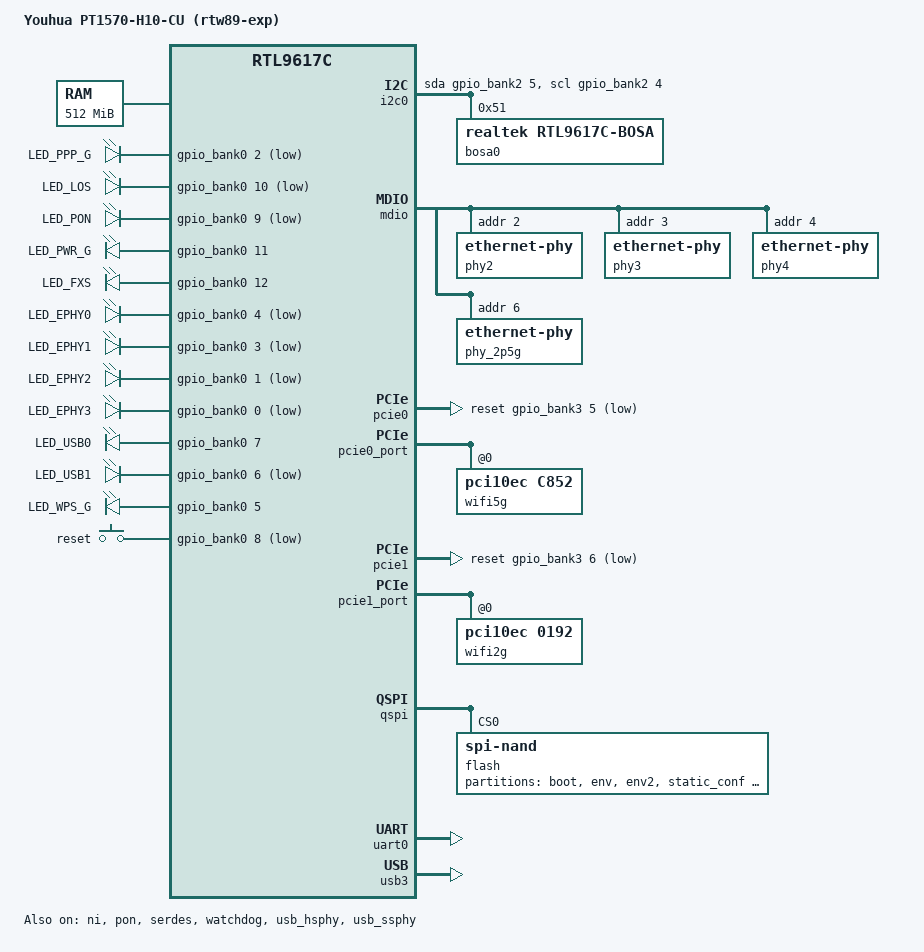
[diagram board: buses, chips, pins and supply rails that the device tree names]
// SPDX-License-Identifier: GPL-2.0-only

/dts-v1/;

#include "rtk-taurus.dtsi"
#include <dt-bindings/gpio/gpio.h>
#include <dt-bindings/input/linux-event-codes.h>
#include <dt-bindings/leds/common.h>

/ {
	model = "Youhua PT1570-H10-CU (rtw89-exp)";
	compatible = "youhua,pt1570-h10-cu-rtw89-exp", "youhua,pt1570-h10-cu", "realtek,rtl9617c";

	aliases {
		serial0 = &uart0;
		i2c0 = &i2c0;
		led-boot = &led_power;
		led-failsafe = &led_power;
		led-running = &led_power;
		led-upgrade = &led_power;
	};

	chosen {
		stdout-path = "serial0:115200n8";
		bootargs = "earlycon console=ttyS0,115200n8 loglevel=7 clk_ignore_unused";
		rootdisk = <&ubi_rootdisk>;
	};

	memory@0 {
		device_type = "memory";
		reg = <0 0 0 0x20000000>;
	};

	reserved-memory {
		#address-cells = <2>;
		#size-cells = <2>;
		ranges;

		voip-vector@0 {
			reg = <0 0 0 0x1000>;
			no-map;
		};
		voip@2000000 {
			reg = <0 0x02000000 0 0x00300000>;
			no-map;
		};
		voip-ipc@2300000 {
			reg = <0 0x02300000 0 0x00100000>;
			no-map;
		};
		ddr-noncache@9000000 {
			reg = <0 0x09000000 0 0x01a50000>;
		};
		ddr-cache@bc48000 {
			reg = <0 0x0bc48000 0 0x10000>;
		};
		lan_deepq: lan-deepq@c000000 {
			reg = <0 0x0c000000 0 0x01500000>;
		};

		tz-smc@eeff000 {
			reg = <0 0x0eeff000 0 0x1000>;
			no-map;
		};
		tz@ffc0000 {
			reg = <0 0x0ffc0000 0 0x40000>;
		};
	};

	leds {
		compatible = "gpio-leds";

		internet {
			label = "LED_PPP_G";
			gpios = <&gpio_bank0 2 GPIO_ACTIVE_LOW>;
			default-state = "off";
		};
		los {
			label = "LED_LOS";
			gpios = <&gpio_bank0 10 GPIO_ACTIVE_LOW>;
		};
		pon {
			label = "LED_PON";
			gpios = <&gpio_bank0 9 GPIO_ACTIVE_LOW>;
		};
		led_power: power {
			label = "LED_PWR_G";
			gpios = <&gpio_bank0 11 GPIO_ACTIVE_HIGH>;
			default-state = "on";
		};
		phone {
			label = "LED_FXS";
			gpios = <&gpio_bank0 12 GPIO_ACTIVE_HIGH>;
		};
		lan0 {
			label = "LED_EPHY0";
			gpios = <&gpio_bank0 4 GPIO_ACTIVE_LOW>;   /* 2.5G 口，PHY 硬件驱动可长灭 */
		};
		lan1 {
			label = "LED_EPHY1";
			gpios = <&gpio_bank0 3 GPIO_ACTIVE_LOW>;   /* 千兆口2 */
		};
		lan2 {
			label = "LED_EPHY2";
			gpios = <&gpio_bank0 1 GPIO_ACTIVE_LOW>;   /* 千兆口3 */
		};
		lan3 {
			label = "LED_EPHY3";
			gpios = <&gpio_bank0 0 GPIO_ACTIVE_LOW>;   /* 千兆口4 */
		};
		usb0 {
			label = "LED_USB0";
			gpios = <&gpio_bank0 7 GPIO_ACTIVE_HIGH>;
			linux,default-trigger = "usbport";
		};
		usb1 {
			label = "LED_USB1";
			gpios = <&gpio_bank0 6 GPIO_ACTIVE_LOW>;
		};
		wps {
			label = "LED_WPS_G";
			gpios = <&gpio_bank0 5 GPIO_ACTIVE_HIGH>;
		};
	};

	gpio-keys {
		compatible = "gpio-keys";

		reset {
			label = "reset";
			linux,code = <KEY_RESTART>;
			gpios = <&gpio_bank0 8 GPIO_ACTIVE_LOW>;
			debounce-interval = <60>;
		};
	};
};

&gpio0 {
	status = "okay";
};

&i2c0 {
	status = "okay";
	scl-gpios = <&gpio_bank2 4 GPIO_ACTIVE_HIGH>;
	sda-gpios = <&gpio_bank2 5 GPIO_ACTIVE_HIGH>;

	bosa0: optical-front-end@51 {
		compatible = "realtek,rtl9617c-bosa";
		reg = <0x51>;
		nvmem-cells = <&bosa_calibration>;
		nvmem-cell-names = "calibration";
	};
};

&mdio {
	status = "okay";

	phy2: ethernet-phy@2 { reg = <2>; };
	phy3: ethernet-phy@3 { reg = <3>; };
	phy4: ethernet-phy@4 { reg = <4>; };

	// 外置 RTL8221B 2.5G PHY：MDIO addr6 C22。refactor 用 HisGMII +
	// serdes-option-mode=1（对齐上游 PT1500 已实机验证的 2.5G 正解架构）。
	phy_2p5g: ethernet-phy@6 {
		reg = <6>;
		realtek,hisgmii;
		realtek,serdes-option-mode = <1>;

		leds {
			#address-cells = <1>;
			#size-cells = <0>;

			led@0 {
				reg = <0>;
				label = "LED_8221B_P6_0";
				default-state = "on";
			};
			led@1 {
				reg = <1>;
				label = "LED_8221B_P6_1";
				default-state = "on";
			};
			led@2 {
				reg = <2>;
				label = "LED_8221B_P6_2";
				default-state = "on";
			};
		};
	};
};

&ni {
	nvmem-cells = <&base_mac 0>;
	nvmem-cell-names = "mac-address";
	memory-region = <&lan_deepq>;
	status = "okay";

	ethernet-ports {
		port@1 {
			reg = <1>;
			label = "lan2";
			phy-mode = "internal";
			phy-handle = <&phy2>;
		};
		port@2 {
			reg = <2>;
			label = "lan3";
			phy-mode = "internal";
			phy-handle = <&phy3>;
		};
		port@3 {
			reg = <3>;
			label = "lan4";
			phy-mode = "internal";
			phy-handle = <&phy4>;
		};
		// P6 XGE MAC = 2.5G 口（netdev lan1），独立 serdes PHY。
		port@6 {
			reg = <6>;
			label = "lan1";
			phy-mode = "2500base-x";
			phy-handle = <&phy_2p5g>;
			phys = <&serdes>;
		};
	};
};

&pcie0 {
	reset-gpios = <&gpio_bank3 5 GPIO_ACTIVE_LOW>;
	status = "okay";
};

&pcie0_port {
	wifi5g: wifi@0,0 {
		compatible = "pci10ec,c852";
		reg = <0x0000 0 0 0 0>;
		nvmem-cells = <&wifi_cal_radio0>;
		nvmem-cell-names = "wifi-calibration";
	};
};

&pcie1 {
	reset-gpios = <&gpio_bank3 6 GPIO_ACTIVE_LOW>;
	status = "okay";
};

&pcie1_port {
	wifi2g: wifi@0,0 {
		compatible = "pci10ec,0192";
		reg = <0x0000 0 0 0 0>;
		nvmem-cells = <&wifi_cal_radio1>;
		nvmem-cell-names = "wifi-calibration";
	};
};

&pon {
	status = "okay";
	nvmem-cells = <&epon_mac 0>, <&pon_sn>;
	nvmem-cell-names = "mac-address", "pon-serial";
	realtek,optical-front-end = <&bosa0>;
	tx-disable-gpios = <&gpio_bank0 15 GPIO_ACTIVE_HIGH>;
	realtek,burst-polarity = <0>;
	realtek,los-invert = <0>;
	realtek,uni-ports = /bits/ 8 <3 2 1 0>;
};

&qspi {
	status = "okay";

	flash@0 {
		compatible = "spi-nand";
		reg = <0>;
		spi-tx-bus-width = <1>;
		spi-rx-bus-width = <4>;

		partitions {
			compatible = "fixed-partitions";
			#address-cells = <1>;
			#size-cells = <1>;

			partition@0 {
				label = "boot";
				reg = <0x0 0x200000>;
				read-only;
			};
			partition@280000 {
				label = "env";
				reg = <0x280000 0x40000>;
			};
			partition@2c0000 {
				label = "env2";
				reg = <0x2c0000 0x40000>;
			};
			partition@300000 {
				label = "static_conf";
				reg = <0x300000 0x40000>;
			};

			ubi_partition: partition@340000 {
				label = "ubi_device";
				reg = <0x340000 0xf5c0000>;
				compatible = "linux,ubi";
				// ⛔ 不可 read-only：否则 UBI 只读 attach、rootfs_data 建不出
				// overlay，sysupgrade 刷入态黑砖（旧 CU 第二版实测踩过）。
				// refactor 上游 dtsi 已不给 ubi 分区标 read-only，无需覆盖。

				volumes {
					ubi_rootdisk: ubi-volume-fit {
						volname = "fit";
					};

					ubi_factory: ubi-volume-factory {
						volname = "factory";

						nvmem-layout {
							compatible = "fixed-layout";
							#address-cells = <1>;
							#size-cells = <1>;

							base_mac: mac-address@1000 {
								compatible = "mac-base";
								reg = <0x1000 0x6>;
								#nvmem-cell-cells = <1>;
							};

							mac_count: mac-count@1006 {
								reg = <0x1006 0x4>;
							};

							epon_mac: mac-address@1010 {
								compatible = "mac-base";
								reg = <0x1010 0x6>;
								#nvmem-cell-cells = <1>;
							};

							pon_sn: pon-serial@1020 {
								reg = <0x1020 0x10>;
							};

							device_sn: device-serial@1030 {
								reg = <0x1030 0x20>;
							};

							wifi_cal_radio0: wifi-calibration@2000 {
								reg = <0x2000 0x1000>;
							};

							wifi_cal_radio1: wifi-calibration@3000 {
								reg = <0x3000 0x1000>;
							};

							bosa_calibration: bosa-calibration@4000 {
								reg = <0x4000 0x400>;
							};

							bosa_olt_calibration: olt-calibration@4800 {
								reg = <0x4800 0x400>;
							};

							xtemp_calibration: xtemp-calibration@5000 {
								reg = <0x5000 0x1000>;
							};


							fpga_image: fpga-image@10000 {
								reg = <0x10000 0x7e0000>;
							};
						};
					};
				};
			};
		};
	};
};

/* SoC TMS sensor reads 12C low per factory xtemp calibration; report raw + 12C */
&cpu_thermal {
	deviation = <0xffffd120>;
};

&serdes {
	status = "okay";
};

&uart0 {
	status = "okay";
};

&watchdog {
	reset-on-timeout;
	delay-reset = <134>;
	status = "okay";
};

&usb_hsphy {
	status = "okay";
};

&usb_ssphy {
	usb-vbus-gpios = <&gpio_bank3 4 GPIO_ACTIVE_HIGH>;
	status = "okay";
};

&usb3 {
	#address-cells = <1>;
	#size-cells = <0>;
	status = "okay";

	usb_port1: port@1 {
		reg = <1>;
		#trigger-source-cells = <0>;
	};
};
